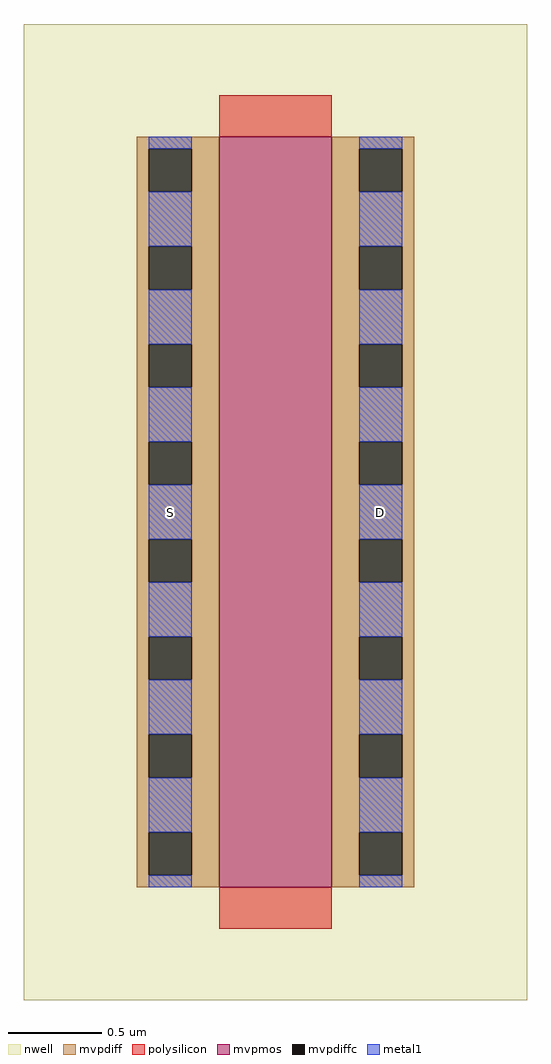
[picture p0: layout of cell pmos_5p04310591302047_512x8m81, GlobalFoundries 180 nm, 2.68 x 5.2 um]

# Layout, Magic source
magic
tech gf180mcuB
magscale 1 10
<< nwell >>
rect -208 -120 328 920
<< mvpmos >>
rect 0 0 120 800
<< mvpdiff >>
rect -88 787 0 800
rect -88 741 -75 787
rect -29 741 0 787
rect -88 683 0 741
rect -88 637 -75 683
rect -29 637 0 683
rect -88 579 0 637
rect -88 533 -75 579
rect -29 533 0 579
rect -88 475 0 533
rect -88 429 -75 475
rect -29 429 0 475
rect -88 371 0 429
rect -88 325 -75 371
rect -29 325 0 371
rect -88 267 0 325
rect -88 221 -75 267
rect -29 221 0 267
rect -88 163 0 221
rect -88 117 -75 163
rect -29 117 0 163
rect -88 59 0 117
rect -88 13 -75 59
rect -29 13 0 59
rect -88 0 0 13
rect 120 787 208 800
rect 120 741 149 787
rect 195 741 208 787
rect 120 683 208 741
rect 120 637 149 683
rect 195 637 208 683
rect 120 579 208 637
rect 120 533 149 579
rect 195 533 208 579
rect 120 475 208 533
rect 120 429 149 475
rect 195 429 208 475
rect 120 371 208 429
rect 120 325 149 371
rect 195 325 208 371
rect 120 267 208 325
rect 120 221 149 267
rect 195 221 208 267
rect 120 163 208 221
rect 120 117 149 163
rect 195 117 208 163
rect 120 59 208 117
rect 120 13 149 59
rect 195 13 208 59
rect 120 0 208 13
<< mvpdiffc >>
rect -75 741 -29 787
rect -75 637 -29 683
rect -75 533 -29 579
rect -75 429 -29 475
rect -75 325 -29 371
rect -75 221 -29 267
rect -75 117 -29 163
rect -75 13 -29 59
rect 149 741 195 787
rect 149 637 195 683
rect 149 533 195 579
rect 149 429 195 475
rect 149 325 195 371
rect 149 221 195 267
rect 149 117 195 163
rect 149 13 195 59
<< polysilicon >>
rect 0 800 120 844
rect 0 -44 120 0
<< metal1 >>
rect -75 787 -29 800
rect -75 683 -29 741
rect -75 579 -29 637
rect -75 475 -29 533
rect -75 371 -29 429
rect -75 267 -29 325
rect -75 163 -29 221
rect -75 59 -29 117
rect -75 0 -29 13
rect 149 787 195 800
rect 149 683 195 741
rect 149 579 195 637
rect 149 475 195 533
rect 149 371 195 429
rect 149 267 195 325
rect 149 163 195 221
rect 149 59 195 117
rect 149 0 195 13
<< labels >>
flabel metal1 s -52 400 -52 400 0 FreeSans 400 0 0 0 S
flabel metal1 s 172 400 172 400 0 FreeSans 400 0 0 0 D
<< properties >>
string GDS_END 352904
string GDS_FILE $PDKPATH/libs.ref/gf180mcu_fd_ip_sram/gds/gf180mcu_fd_ip_sram__sram512x8m8wm1.gds
string GDS_START 350920
<< end >>
